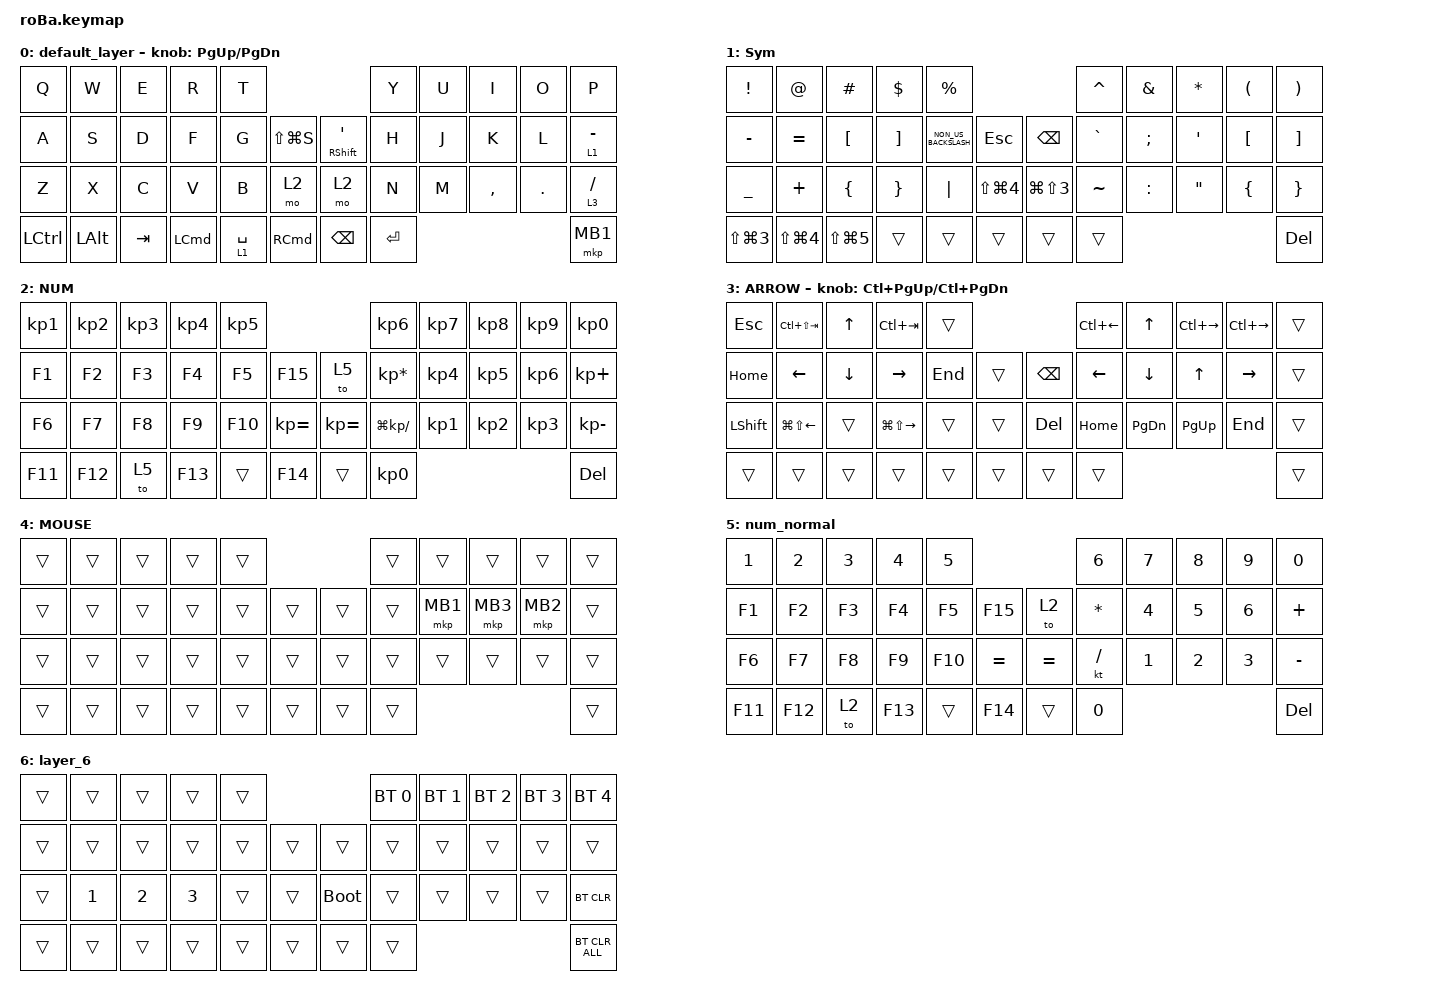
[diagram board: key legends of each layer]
#include <behaviors.dtsi>
#include <dt-bindings/zmk/bt.h>
#include <dt-bindings/zmk/keys.h>
#include <dt-bindings/zmk/pointing.h>

&mt {
    flavor = "balanced";
    quick-tap-ms = <0>;
};

&trackball {
    automouse-layer = <4>;
    scroll-layers = <5>;

    // arrows {
    //     layers = <3>;
    //     bindings =
    //         <&kp RIGHT_ARROW>,
    //         <&kp LEFT_ARROW>,
    //         <&kp UP_ARROW>,
    //         <&kp DOWN_ARROW>;
    //     tick = <10>;
    //     wait-ms = <5>;
    //     tap-ms = <5>;
    // };
};

/ {
    combos {
        compatible = "zmk,combos";

        ctrl_R {
            bindings = <&kp RCTRL>;
            key-positions = <21 19>;
            timeout-ms = <45>;
            require-prior-idle-ms = <100>;
            layers = <0 3>;
        };

        R_shift {
            bindings = <&kp RIGHT_SHIFT>;
            key-positions = <32 33>;
            timeout-ms = <80>;
            require-prior-idle-ms = <100>;
            layers = <0 3>;
        };

        ctrl {
            bindings = <&kp LCTRL>;
            key-positions = <10 11>;
            timeout-ms = <45>;
            require-prior-idle-ms = <100>;
            layers = <0 3>;
        };

        L_shift {
            bindings = <&kp LEFT_SHIFT>;
            key-positions = <22 23>;
            timeout-ms = <80>;
            require-prior-idle-ms = <100>;
            layers = <0 3>;
        };

        abc {
            bindings = <&kp LANGUAGE_2>;
            key-positions = <23 24>;
            timeout-ms = <45>;
            require-prior-idle-ms = <100>;
            layers = <0>;
        };

        kana {
            bindings = <&kp LANGUAGE_1>;
            key-positions = <31 32>;
            timeout-ms = <45>;
            require-prior-idle-ms = <100>;
            layers = <0>;
        };

        l_cmd {
            bindings = <&kp LCMD>;
            key-positions = <11 12>;
            timeout-ms = <45>;
            require-prior-idle-ms = <100>;
            layers = <0 3>;
        };

        r_cmd {
            bindings = <&kp RCMD>;
            key-positions = <19 20>;
            timeout-ms = <45>;
            require-prior-idle-ms = <100>;
            layers = <0>;
        };

        tab {
            bindings = <&kp TAB>;
            key-positions = <1 2>;
            timeout-ms = <45>;
            require-prior-idle-ms = <100>;
            layers = <0>;
        };

        shift_tab {
            bindings = <&kp LS(TAB)>;
            key-positions = <2 3>;
            timeout-ms = <45>;
            require-prior-idle-ms = <100>;
            layers = <0>;
        };

        mb1 {
            bindings = <&mkp MB1>;
            key-positions = <18 19>;
            timeout-ms = <45>;
            require-prior-idle-ms = <100>;
            layers = <0>;
        };

        mb2 {
            bindings = <&mkp MB2>;
            key-positions = <20 18>;
            timeout-ms = <45>;
            require-prior-idle-ms = <100>;
            layers = <0>;
        };

        mb3 {
            bindings = <&mkp MB3>;
            key-positions = <18 19 20>;
            timeout-ms = <45>;
            require-prior-idle-ms = <100>;
            layers = <0>;
        };

        mb4 {
            bindings = <&kp LG(LEFT_BRACKET)>;
            key-positions = <6 7>;
            timeout-ms = <45>;
            require-prior-idle-ms = <100>;
            layers = <0>;
        };

        mb5 {
            bindings = <&kp LG(RIGHT_BRACKET)>;
            key-positions = <7 8>;
            timeout-ms = <45>;
            require-prior-idle-ms = <100>;
            layers = <0>;
        };

        Vol+ {
            bindings = <&kt C_VOLUME_UP>;
            key-positions = <5 17>;
            timeout-ms = <45>;
            require-prior-idle-ms = <100>;
            layers = <0>;
        };

        vol_down {
            bindings = <&kp C_VOLUME_DOWN>;
            key-positions = <29 17>;
            timeout-ms = <45>;
            require-prior-idle-ms = <100>;
            layers = <0>;
        };

        play_stop {
            bindings = <&kp C_PLAY_PAUSE>;
            key-positions = <17 18>;
            timeout-ms = <45>;
            require-prior-idle-ms = <100>;
            layers = <0>;
        };

        esc {
            bindings = <&kp ESCAPE>;
            key-positions = <1 0>;
            timeout-ms = <45>;
            require-prior-idle-ms = <100>;
            layers = <0>;
        };

        bt0 {
            bindings = <&bt BT_SEL 0>;
            key-positions = <4 10 26>;
        };

        bt1 {
            bindings = <&bt BT_SEL 1>;
            key-positions = <4 0 26>;
        };

        bt2 {
            bindings = <&bt BT_SEL 2>;
            key-positions = <1 4 26>;
        };

        bt3 {
            bindings = <&bt BT_SEL 3>;
            key-positions = <2 4 26>;
        };

        bt4 {
            bindings = <&bt BT_SEL 4>;
            key-positions = <3 4 26>;
        };

        btclear {
            bindings = <&bt BT_CLR>;
            key-positions = <4 26 24>;
        };

        bt_clr_all {
            bindings = <&bt BT_CLR_ALL>;
            key-positions = <4 26 23>;
        };

        mute {
            bindings = <&kp C_MUTE>;
            key-positions = <6 8 7>;
            timeout-ms = <45>;
            require-prior-idle-ms = <100>;
            layers = <0>;
        };

        previous {
            bindings = <&kp C_PREVIOUS>;
            key-positions = <5 7 6>;
            timeout-ms = <45>;
            require-prior-idle-ms = <100>;
            layers = <0>;
        };

        next {
            bindings = <&kp C_NEXT>;
            key-positions = <7 9 8>;
            timeout-ms = <45>;
            require-prior-idle-ms = <100>;
            layers = <0>;
        };

        del {
            bindings = <&kp DEL>;
            key-positions = <3 4>;
            timeout-ms = <45>;
            require-prior-idle-ms = <100>;
            layers = <0>;
        };
    };

    macros {
        to_layer_0: to_layer_0 {
            compatible = "zmk,behavior-macro-one-param";
            #binding-cells = <1>;
            bindings = <&to 0 &macro_param_1to1 &kp MACRO_PLACEHOLDER>;
            label = "TO_LAYER_0";
        };
    };

    behaviors {
        lt_to_layer_0: lt_to_layer_0 {
            compatible = "zmk,behavior-hold-tap";
            label = "LAYER_TAP_TO_0";
            bindings = <&mo>, <&to_layer_0>;

            #binding-cells = <2>;
            tapping-term-ms = <200>;
        };

        new_behavior: new_behavior {
            compatible = "zmk,behavior-hold-tap";
            label = "NEW_BEHAVIOR";
            bindings = <&none>, <&none>;

            #binding-cells = <2>;
            tapping-term-ms = <180>;
            flavor = "balanced";
            quick-tap-ms = <0>;
            require-prior-idle-ms = <120>;
        };
    };

    keymap {
        compatible = "zmk,keymap";

        default_layer {
            bindings = <
&kp Q      &kp W         &kp E    &kp R     &kp T                                                &kp Y      &kp U  &kp I      &kp O    &kp P
&kp A      &kp S         &kp D    &kp F     &kp G        &kp LS(LG(S))      &mt RIGHT_SHIFT SQT  &kp H      &kp J  &kp K      &kp L    &lt 1 MINUS
&kp Z      &kp X         &kp C    &kp V     &kp B        &mo 2              &mo 2                &kp N      &kp M  &kp COMMA  &kp DOT  &lt 3 FSLH
&kp LCTRL  &kp LEFT_ALT  &kp TAB  &kp LCMD  &lt 1 SPACE  &kp RCMD           &kp BACKSPACE        &kp ENTER                             &mkp MB1
            >;

            sensor-bindings = <&inc_dec_kp PG_UP PAGE_DOWN>;
        };

        Sym {
            bindings = <
&kp EXCLAMATION       &kp AT_SIGN           &kp HASH              &kp DOLLAR         &kp PERCENT                                                           &kp CARET  &kp AMPERSAND  &kp ASTERISK       &kp LEFT_PARENTHESIS  &kp RIGHT_PARENTHESIS
&kp MINUS             &kp EQUAL             &kp LEFT_BRACKET      &kp RIGHT_BRACKET  &kp NON_US_BACKSLASH  &kp ESCAPE                &kp BACKSPACE         &kp GRAVE  &kp SEMICOLON  &kp SQT            &kp LEFT_BRACKET      &kp RIGHT_BRACKET
&kp UNDERSCORE        &kp PLUS              &kp LEFT_BRACE        &kp RIGHT_BRACE    &kp PIPE              &kp LS(LG(NUMBER_4))      &kp LG(LS(NUMBER_3))  &kp TILDE  &kp COLON      &kp DOUBLE_QUOTES  &kp LEFT_BRACE        &kp RBRC
&kp LS(LG(NUMBER_3))  &kp LS(LG(NUMBER_4))  &kp LS(LG(NUMBER_5))  &trans             &trans                &trans                    &trans                &trans                                                             &kp DELETE
            >;
        };

        NUM {
            bindings = <
&kp KP_NUMBER_1  &kp KP_NUMBER_2  &kp KP_NUMBER_3  &kp KP_NUMBER_4  &kp KP_NUMBER_5                                  &kp KP_NUMBER_6   &kp KP_NUMBER_7  &kp KP_NUMBER_8  &kp KP_NUMBER_9  &kp KP_NUMBER_0
&kp F1           &kp F2           &kp F3           &kp F4           &kp F5           &kp F15           &to 5         &kp KP_ASTERISK   &kp KP_NUMBER_4  &kp KP_NUMBER_5  &kp KP_NUMBER_6  &kp KP_PLUS
&kp F6           &kp F7           &kp F8           &kp F9           &kp F10          &kp KP_EQUAL      &kp KP_EQUAL  &kp LG(KP_SLASH)  &kp KP_NUMBER_1  &kp KP_NUMBER_2  &kp KP_NUMBER_3  &kp KP_MINUS
&kp F11          &kp F12          &to 5            &kp F13          &trans           &kp F14           &trans        &kp KP_NUMBER_0                                                      &kp DELETE
            >;
        };

        ARROW {
            bindings = <
&kp ESCAPE      &kp LC(LS(TAB))         &kp UP_ARROW    &kp LC(TAB)              &trans                              &kp LC(LEFT_ARROW)  &kp UP_ARROW    &kp LC(RIGHT_ARROW)  &kp LC(RIGHT_ARROW)  &trans
&kp HOME        &kp LEFT_ARROW          &kp DOWN_ARROW  &kp RIGHT_ARROW          &kp END  &trans      &kp BACKSPACE  &kp LEFT_ARROW      &kp DOWN_ARROW  &kp UP_ARROW         &kp RIGHT_ARROW      &trans
&kp LEFT_SHIFT  &kp LG(LS(LEFT_ARROW))  &trans          &kp LG(LS(RIGHT_ARROW))  &trans   &trans      &kp DEL        &kp HOME            &kp PAGE_DOWN   &kp PAGE_UP          &kp END              &trans
&trans          &trans                  &trans          &trans                   &trans   &trans      &trans         &trans                                                                        &trans
            >;

            sensor-bindings = <&inc_dec_kp LC(PAGE_UP) LC(PAGE_DOWN)>;
        };

        MOUSE {
            bindings = <
&trans  &trans  &trans  &trans  &trans                      &trans  &trans    &trans    &trans    &trans
&trans  &trans  &trans  &trans  &trans  &trans      &trans  &trans  &mkp MB1  &mkp MB3  &mkp MB2  &trans
&trans  &trans  &trans  &trans  &trans  &trans      &trans  &trans  &trans    &trans    &trans    &trans
&trans  &trans  &trans  &trans  &trans  &trans      &trans  &trans                                &trans
            >;
        };

        num_normal {
            bindings = <
&kp NUMBER_1  &kp N2   &kp NUMBER_3  &kp NUMBER_4  &kp N5                             &kp NUMBER_6  &kp N7        &kp N8        &kp N9        &kp N0
&kp F1        &kp F2   &kp F3        &kp F4        &kp F5   &kp F15        &to 2      &kp ASTERISK  &kp NUMBER_4  &kp N5        &kp NUMBER_6  &kp PLUS
&kp F6        &kp F7   &kp F8        &kp F9        &kp F10  &kp EQUAL      &kp EQUAL  &kt SLASH     &kp NUMBER_1  &kp NUMBER_2  &kp NUMBER_3  &kp MINUS
&kp F11       &kp F12  &to 2         &kp F13       &trans   &kp F14        &trans     &kp N0                                                  &kp DELETE
            >;
        };

        layer_6 {
            bindings = <
&trans  &trans        &trans        &trans        &trans                           &bt BT_SEL 0  &bt BT_SEL 1  &bt BT_SEL 2  &bt BT_SEL 3  &bt BT_SEL 4
&trans  &trans        &trans        &trans        &trans  &trans      &trans       &trans        &trans        &trans        &trans        &trans
&trans  &kp NUMBER_1  &kp NUMBER_2  &kp NUMBER_3  &trans  &trans      &bootloader  &trans        &trans        &trans        &trans        &bt BT_CLR
&trans  &trans        &trans        &trans        &trans  &trans      &trans       &trans                                                  &bt BT_CLR_ALL
            >;
        };
    };
};
